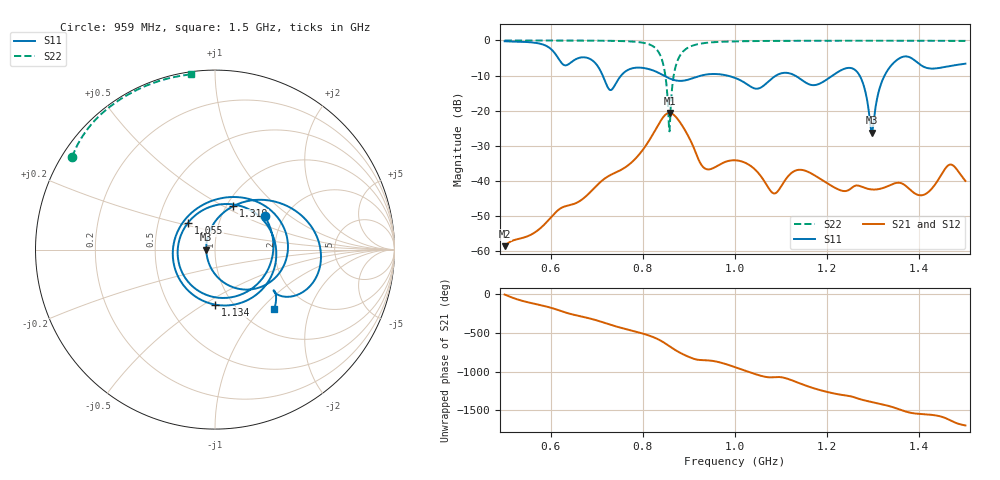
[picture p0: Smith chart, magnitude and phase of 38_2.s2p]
! TOUCHSTONE file generated by CST MICROWAVE STUDIO
! Date and time: Mon Nov 30 09:13:08 2020
! Project name: Scenario_1_Planar_Body_Tissue_Out_of_Line_v2.cst
! Parameters = {dy1=294.1; L_HA=400; Ltissue=700; MT=2.54; Rad_Dielectric=30; Rad_Lower=7.3; Rad_Upper=30; Wtissue=700; a_HA=580; a_WG=246; b_HA=500; b_WG=121; c_HA=0; c_WG=187; d_feed=85; dx1=346; h_feed=15; h_lower=18; h_upper=40; hfat=3; hgap=25; hmuscle=50; hskin=1.5}
! Header version: 2018
! Port assignment regex: !\s*Touchstone port\s*([0-9]+)\s*=\s*(CST MWS port|CST DS port)\s*([0-9]+|Zmin|Zmax)\s*\(\"(.*)\"\)(\s*mode\s*([0-9]+))?.*
! Touchstone port assignment:
! Touchstone port 1 = CST MWS port 1 ("")
! Touchstone port 2 = CST MWS port 2 ("")
# GHz S DB R 50
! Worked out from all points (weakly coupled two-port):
!   1003 points, 500 MHz to 1.5 GHz, reference 50 ohm
!   highest |S21| = -20.62 dB at 858 MHz (marker M1); lowest = -58.5 dB at 500 MHz (marker M2)
!   lowest |S11| = -26.2 dB at 1.297 GHz (marker M3), VSWR 1.10, Z = 45.4 - j0.0733 ohm
!   |S11| at or under -10 dB: 845.5 MHz to 926.5 MHz (81.05 MHz wide, 9.15 % of centre); 983.4 MHz to 1.089 GHz (105.6 MHz wide, 10.2 % of centre); 1.13 GHz to 1.212 GHz (81.07 MHz wide, 6.92 % of centre)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
!   |S22| runs from -25.9 to 0.0 dB; largest |S21 - S12| = 1.7e-05
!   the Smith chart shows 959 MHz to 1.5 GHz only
!   S11 on the Smith chart (normalised r, x): 959 MHz: 1.59, +0.67; 1.055 GHz: 0.71, +0.22; 1.134 GHz: 0.83, -0.56; 1.319 GHz: 1.07, +0.56; 1.5 GHz: 1.40, -1.18
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0.5  -0.23 -121.8  -58.50 -3.2  -58.50 -3.2  -0.01 151.2
0.578  -0.96 -165.0  -53.36 -140.5  -53.36 -140.5  -0.02 145.8
0.667  -4.82 155.0  -45.33 72.4  -45.33 72.4  -0.04 138.4
0.717  -11.26 35.4  -39.30 -9.8  -39.30 -9.8  -0.09 132.7
0.742  -12.11 -104.1  -37.50 -56.3  -37.50 -56.3  -0.14 129.0
0.773  -8.08 170.5  -34.98 -105.1  -34.98 -105.1  -0.28 122.4
0.834  -9.21 41.1  -23.89 135.1  -23.89 135.1  -3.28 83.1
0.858  -10.81 -23.2  -20.62 46.6  -20.62 46.6  -25.87 -67.7
0.875  -11.45 -75.9  -22.27 -17.8  -22.27 -17.8  -5.83 -165.8
0.908  -10.76 173.7  -29.75 -109.6  -29.74 -109.6  -1.48 163.6
0.959  -9.55 34.1  -35.87 -149.9  -35.88 -150.0  -0.46 147.0
1  -10.66 -54.8  -34.07 137.1  -34.07 137.1  -0.27 140.3
1.055  -13.48 135.1  -38.40 27.0  -38.40 27.0  -0.16 134.0
1.1  -9.37 0.5  -41.52 6.7  -41.52 6.7  -0.12 129.7
1.134  -10.27 -89.9  -36.89 -57.3  -36.89 -57.3  -0.11 126.9
1.167  -12.69 169.2  -37.93 -128.9  -37.93 -128.9  -0.10 124.2
1.216  -9.60 60.4  -41.84 154.8  -41.84 154.8  -0.09 120.4
1.259  -8.24 -16.9  -41.42 106.7  -41.42 106.7  -0.09 117.2
1.297  -26.24 -179.1  -42.38 45.6  -42.38 45.6  -0.08 114.3
1.319  -11.63 67.3  -42.05 16.7  -42.05 16.7  -0.08 112.7
1.334  -7.96 43.5  -41.30 -5.9  -41.30 -5.9  -0.09 111.5
1.5  -6.62 -45.1  -39.96 102.3  -39.96 102.3  -0.13 98.0
